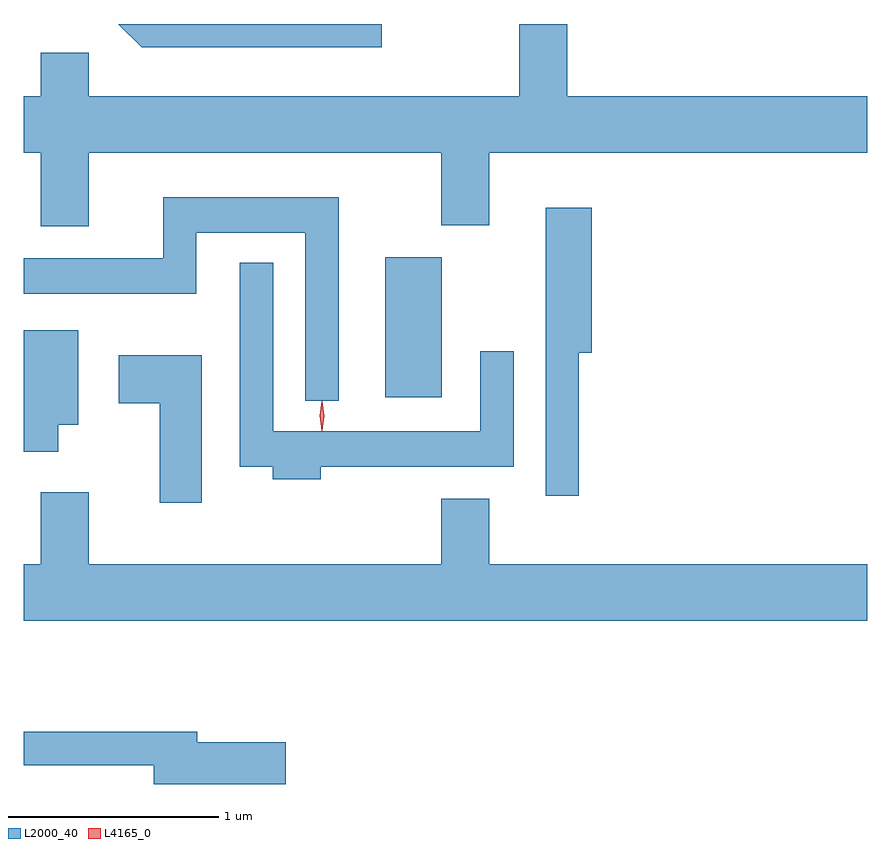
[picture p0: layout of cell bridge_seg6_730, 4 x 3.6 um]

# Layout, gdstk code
import gdstk
lib = gdstk.Library(unit=1e-6, precision=1e-09)
def R(c, l, rs):  # rectangles x0, y0, x1, y1
    for r in rs: c.add(gdstk.rectangle(r[:2], r[2:], *l))
def P(c, l, *ps):  # polygons
    for p in ps: c.add(gdstk.Polygon(p, *l))
L2000_40 = (2000, 40)
L4165_0 = (4165, 0)

bridge_seg6_730 = lib.new_cell('bridge_seg6_730')
R(bridge_seg6_730, L2000_40, [(419.866,1584.396,420.134,1585.059)])
P(bridge_seg6_730, L2000_40, [(418.459,1585.556),(420.131,1585.556),(420.131,1585.211),(420.359,1585.211),(420.359,1585.556),(422.151,1585.556),(422.151,1585.824),(420.729,1585.824),(420.729,1586.166),(420.501,1586.166),(420.501,1585.824),(418.459,1585.824),(418.459,1586.029),(418.231,1586.029),(418.231,1585.824),(418.151,1585.824),(418.151,1585.556),(418.231,1585.556),(418.231,1585.206),(418.459,1585.206)],
  [(419.848,1586.166),(418.599,1586.166),(418.709,1586.056),(419.848,1586.056)],
  [(419.644,1585.344),(418.811,1585.344),(418.811,1585.054),(418.151,1585.054),(418.151,1584.886),(418.969,1584.886),(418.969,1585.176),(419.486,1585.176),(419.486,1584.378),(419.644,1584.378)],
  [(420.784,1584.606),(420.844,1584.606),(420.844,1585.294),(420.626,1585.294),(420.626,1583.928),(420.784,1583.928)],
  [(419.559,1584.066),(420.474,1584.066),(420.474,1584.613),(420.316,1584.613),(420.316,1584.234),(419.334,1584.234),(419.334,1585.033),(419.176,1585.033),(419.176,1584.066),(419.331,1584.066),(419.331,1584.006),(419.559,1584.006)],
  [(418.314,1584.266),(418.409,1584.266),(418.409,1584.714),(418.151,1584.714),(418.151,1584.136),(418.314,1584.136)],
  [(418.994,1584.594),(418.601,1584.594),(418.601,1584.366),(418.796,1584.366),(418.796,1583.896),(418.994,1583.896)],
  [(422.151,1583.604),(420.359,1583.604),(420.359,1583.914),(420.131,1583.914),(420.131,1583.604),(418.459,1583.604),(418.459,1583.944),(418.231,1583.944),(418.231,1583.604),(418.151,1583.604),(418.151,1583.336),(422.151,1583.336)],
  [(419.394,1582.759),(418.974,1582.759),(418.974,1582.809),(418.151,1582.809),(418.151,1582.651),(418.766,1582.651),(418.766,1582.561),(419.394,1582.561)])
P(bridge_seg6_730, L4165_0, [(419.565,1584.237),(419.565,1584.237),(419.555,1584.307),(419.565,1584.376),(419.565,1584.376),(419.566,1584.376),(419.575,1584.307),(419.566,1584.237)],
  [(419.566,1584.239),(419.566,1584.24),(419.556,1584.306),(419.566,1584.372),(419.566,1584.373),(419.567,1584.372),(419.576,1584.306),(419.567,1584.24)])

lib.write_gds('bridge_seg6_730.gds')
